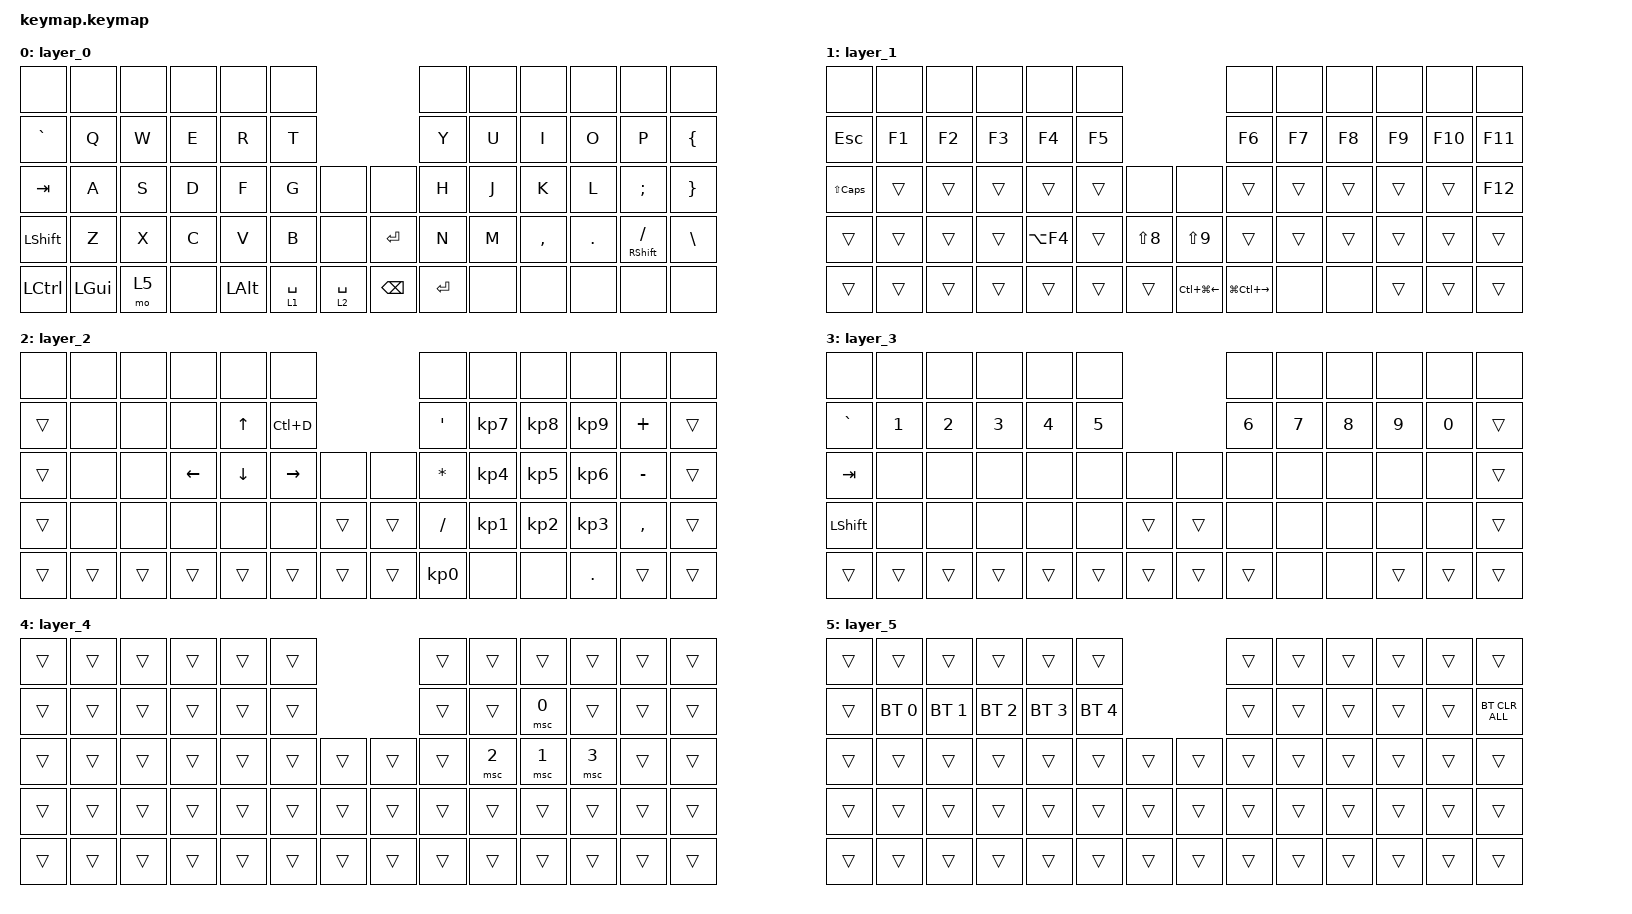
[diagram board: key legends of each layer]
#include <behaviors.dtsi>
#include <dt-bindings/zmk/bt.h>
#include <dt-bindings/zmk/keys.h>
#include <dt-bindings/zmk/pointing.h>

/* --- 標準のmscノードを直接上書き（これなら定義エラーが出ません） --- */
&msc {
    compatible = "zmk,behavior-pointing-scroll";
    #binding-cells = <1>;
    // 感度を5に調整、横方向(x)をマイナスにして反転解消
    scroll-vector-x = <(-5)>;
    scroll-vector-y = <5>;
};

/ {
    combos {
        compatible = "zmk,combos";

        mb1r {
            bindings = <&mkp MB1>;
            key-positions = <19 20>;
        };

        mb1l {
            bindings = <&mkp MB1>;
            key-positions = <16 15>;
        };

        mb2r {
            bindings = <&mkp MB2>;
            key-positions = <19 21>;
        };

        mb2l {
            bindings = <&mkp MB2>;
            key-positions = <16 14>;
            layers = <0>;
        };

        mb3r {
            bindings = <&mkp MB3>;
            key-positions = <19 34>;
        };

        mb3l {
            bindings = <&mkp MB3>;
            key-positions = <16 27>;
        };

        ctrlwr {
            bindings = <&kp LC(W)>;
            key-positions = <33 34>;
        };

        ctrlwl {
            bindings = <&kp LC(W)>;
            key-positions = <28 27>;
        };

        mb4r {
            bindings = <&mkp MB4>;
            key-positions = <19 20 21 22>;
        };

        mb4l {
            bindings = <&mkp MB4>;
            key-positions = <16 15 14 13>;
        };

        mo4r {
            bindings = <&mo 4>;
            key-positions = <19 21 20>;
        };

        mo4l {
            bindings = <&mo 4>;
            key-positions = <16 15 14>;
        };
    };

    keymap {
        compatible = "zmk,keymap";

        layer_0 {
            bindings = <
&none      &none         &none  &none  &none         &none                                         &none    &none  &none      &none    &none                 &none
&kp GRAVE  &kp Q         &kp W  &kp E  &kp R         &kp T                                         &kp Y    &kp U  &kp I      &kp O    &kp P                 &kp LEFT_BRACE
&kp TAB    &kp A         &kp S  &kp D  &kp F         &kp G        &none        &none               &kp H    &kp J  &kp K      &kp L    &kp SEMI              &kp RIGHT_BRACE
&kp LSHFT  &kp Z         &kp X  &kp C  &kp V         &kp B        &none        &kp RET             &kp N    &kp M  &kp COMMA  &kp DOT  &mt RIGHT_SHIFT FSLH  &kp BACKSLASH
&kp LCTRL  &kp LEFT_GUI  &mo 5  &none  &kp LEFT_ALT  &lt 1 SPACE  &lt 2 SPACE  &kp BACKSPACE       &kp RET  &none  &none      &none    &none                 &none
            >;
        };

        layer_1 {
            bindings = <
&none         &none   &none   &none   &none       &none                                       &none                    &none   &none   &none   &none    &none
&kp ESCAPE    &kp F1  &kp F2  &kp F3  &kp F4      &kp F5                                      &kp F6                   &kp F7  &kp F8  &kp F9  &kp F10  &kp F11
&kp LS(CAPS)  &trans  &trans  &trans  &trans      &trans  &none        &none                  &trans                   &trans  &trans  &trans  &trans   &kp F12
&trans        &trans  &trans  &trans  &kp LA(F4)  &trans  &kp LS(N8)   &kp LS(N9)             &trans                   &trans  &trans  &trans  &trans   &trans
&trans        &trans  &trans  &trans  &trans      &trans  &trans       &kp LC(LG(LEFT_ARROW)) &kp LG(LC(RIGHT_ARROW))  &none   &none   &trans  &trans   &trans
            >;
        };

        layer_2 {
            bindings = <
&none   &none   &none   &none           &none           &none                            &none            &none            &none            &none            &none      &none
&trans  &none   &none   &none           &kp UP_ARROW    &kp LC(D)                        &kp APOS         &kp KP_NUMBER_7  &kp KP_NUMBER_8  &kp KP_NUMBER_9  &kp PLUS   &trans
&trans  &none   &none   &kp LEFT_ARROW  &kp DOWN_ARROW  &kp RIGHT_ARROW  &none   &none   &kp STAR         &kp KP_NUMBER_4  &kp KP_NUMBER_5  &kp KP_NUMBER_6  &kp MINUS  &trans
&trans  &none   &none   &none           &none           &none            &trans  &trans  &kp SLASH        &kp KP_NUMBER_1  &kp KP_NUMBER_2  &kp KP_NUMBER_3  &kp COMMA  &trans
&trans  &trans  &trans  &trans          &trans          &trans           &trans  &trans  &kp KP_NUMBER_0  &none            &none            &kp DOT          &trans     &trans
            >;
        };

        layer_3 {
            bindings = <
&none           &none         &none         &none         &none         &none                   &none         &none         &none         &none         &none         &none
&kp GRAVE       &kp NUMBER_1  &kp NUMBER_2  &kp NUMBER_3  &kp NUMBER_4  &kp N5                  &kp NUMBER_6  &kp NUMBER_7  &kp NUMBER_8  &kp NUMBER_9  &kp NUMBER_0  &trans
&kp TAB         &none         &none         &none         &none         &none  &none   &none    &none         &none         &none         &none         &none         &trans
&kp LEFT_SHIFT  &none         &none         &none         &none         &none  &trans  &trans   &none         &none         &none         &none         &none         &trans
&trans          &trans        &trans        &trans        &trans        &trans &trans  &trans   &trans        &none         &none         &trans        &trans        &trans
            >;
        };

        layer_4 {
            /* 修正版 &msc を使用。0=UP, 1=DOWN, 2=LEFT, 3=RIGHT */
            bindings = <
&trans  &trans  &trans  &trans  &trans  &trans                  &trans     &trans     &trans     &trans     &trans  &trans
&trans  &trans  &trans  &trans  &trans  &trans                  &trans     &trans     &msc 0     &trans     &trans  &trans
&trans  &trans  &trans  &trans  &trans  &trans  &trans  &trans  &trans     &msc 2     &msc 1     &msc 3     &trans  &trans
&trans  &trans  &trans  &trans  &trans  &trans  &trans  &trans  &trans     &trans     &trans     &trans     &trans  &trans
&trans  &trans  &trans  &trans  &trans  &trans  &trans  &trans  &trans     &trans     &trans     &trans     &trans  &trans
            >;
        };

        layer_5 {
            bindings = <
&trans  &trans        &trans        &trans        &trans        &trans                        &trans  &trans  &trans  &trans  &trans  &trans
&trans  &bt BT_SEL 0  &bt BT_SEL 1  &bt BT_SEL 2  &bt BT_SEL 3  &bt BT_SEL 4                  &trans  &trans  &trans  &trans  &trans  &bt BT_CLR_ALL
&trans  &trans        &trans        &trans        &trans        &trans        &trans  &trans  &trans  &trans  &trans  &trans  &trans  &trans
&trans  &trans        &trans        &trans        &trans        &trans        &trans  &trans  &trans  &trans  &trans  &trans  &trans  &trans
&trans  &trans        &trans        &trans        &trans        &trans        &trans  &trans  &trans  &trans  &trans  &trans  &trans  &trans
            >;
        };
    };
};
